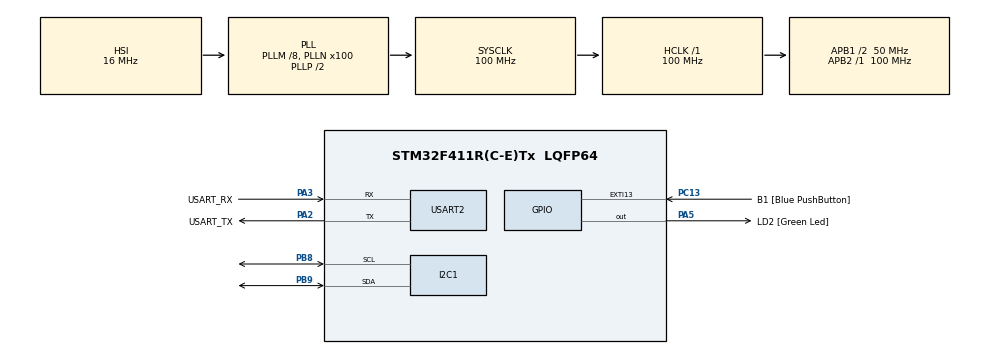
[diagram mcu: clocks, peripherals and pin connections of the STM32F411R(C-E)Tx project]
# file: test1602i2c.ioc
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Mcu.Family=STM32F4
Mcu.Name=STM32F411R(C-E)Tx
Mcu.Package=LQFP64
NVIC.PriorityGroup=NVIC_PRIORITYGROUP_0
PA13.GPIO_Label=TMS
PA13.Mode=Serial_Wire
PA13.Signal=SYS_JTMS-SWDIO
PA14.GPIO_Label=TCK
PA14.Mode=Serial_Wire
PA14.Signal=SYS_JTCK-SWCLK
PA2.GPIO_Label=USART_TX
PA2.Mode=Asynchronous
PA2.Signal=USART2_TX
PA3.GPIO_Label=USART_RX
PA3.Mode=Asynchronous
PA3.Signal=USART2_RX
PA5.GPIO_Label=LD2 [Green Led]
PA5.Signal=GPIO_Output
PB3.GPIO_Label=SWO
PB3.Signal=SYS_JTDO-SWO
PB8.Mode=I2C
PB8.Signal=I2C1_SCL
PB9.Mode=I2C
PB9.Signal=I2C1_SDA
PC13-ANTI_TAMP.GPIO_Label=B1 [Blue PushButton]
PC13-ANTI_TAMP.GPIO_ModeDefaultEXTI=GPIO_MODE_IT_FALLING
PC13-ANTI_TAMP.Signal=GPXTI13
PC14-OSC32_IN.Mode=LSE-External-Oscillator
PC14-OSC32_IN.Signal=RCC_OSC32_IN
PC15-OSC32_OUT.Mode=LSE-External-Oscillator
PC15-OSC32_OUT.Signal=RCC_OSC32_OUT
PH0\ -\ OSC_IN.Mode=HSE-External-Clock-Source
PH0\ -\ OSC_IN.Signal=RCC_OSC_IN
PH1\ -\ OSC_OUT.Mode=HSE-External-Clock-Source
PH1\ -\ OSC_OUT.Signal=RCC_OSC_OUT
ProjectManager.HeapSize=0x200
ProjectManager.StackSize=0x400
ProjectManager.TargetToolchain=STM32CubeIDE
RCC.48MHZClocksFreq_Value=50000000
RCC.AHBFreq_Value=100000000
RCC.APB1CLKDivider=RCC_HCLK_DIV2
RCC.APB1Freq_Value=50000000
RCC.APB1TimFreq_Value=100000000
RCC.APB2Freq_Value=100000000
RCC.APB2TimFreq_Value=100000000
RCC.CortexFreq_Value=100000000
RCC.FLatency-AdvancedSettings=FLASH_LATENCY_3
RCC.HCLKFreq_Value=100000000
RCC.HSE_VALUE=8000000
RCC.HSI_VALUE=16000000
RCC.PLLM=8
RCC.PLLN=100
RCC.SYSCLKFreq_VALUE=100000000
RCC.SYSCLKSource=RCC_SYSCLKSOURCE_PLLCLK
RCC.VCOOutputFreq_Value=200000000
USART2.VirtualMode=VM_ASYNC
board=NUCLEO-F411RE

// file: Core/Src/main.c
/* USER CODE BEGIN Header */
/**
  ******************************************************************************
  * @file           : main.c
  * @brief          : Main program body
  ******************************************************************************
  * @attention
  *
  * Copyright (c) 2026 STMicroelectronics.
  * All rights reserved.
  *
  * This software is licensed under terms that can be found in the LICENSE file
  * in the root directory of this software component.
  * If no LICENSE file comes with this software, it is provided AS-IS.
  *
  ******************************************************************************
  */
/* USER CODE END Header */
#include "main.h"
#include "i2c.h"
#include "usart.h"
#include "gpio.h"

void SystemClock_Config(void);

/* USER CODE BEGIN 0 */
#define LCD_ADDR (0x27 << 1)   // đổi thành 0x3F<<1 nếu module là 3F

// Mapping loại 4 (đã xác nhận bằng PulseView)
#define RS (1<<0)
#define RW (1<<1)
#define EN (1<<2)
#define BL (1<<3)

void lcd_send_cmd(uint8_t cmd)
{
    uint8_t u = cmd & 0xF0;        // high nibble
    uint8_t l = (cmd << 4) & 0xF0; // low nibble

    uint8_t data[4] = {
        (u) | BL | EN,   // EN=1, RS=0
        (u) | BL,        // EN=0
        (l) | BL | EN,
        (l) | BL
    };

    HAL_I2C_Master_Transmit(&hi2c1, LCD_ADDR, data, 4, 100);
}

void lcd_send_data(uint8_t data_in)
{
    uint8_t u = data_in & 0xF0;
    uint8_t l = (data_in << 4) & 0xF0;

    uint8_t data[4] = {
        (u) | BL | EN | RS,   // EN=1, RS=1
        (u) | BL | RS,        // EN=0
        (l) | BL | EN | RS,
        (l) | BL | RS
    };

    HAL_I2C_Master_Transmit(&hi2c1, LCD_ADDR, data, 4, 100);
}

void lcd_init(void)
{
    HAL_Delay(50);

    lcd_send_cmd(0x30);
    HAL_Delay(5);
    lcd_send_cmd(0x30);
    HAL_Delay(1);
    lcd_send_cmd(0x30);
    HAL_Delay(10);

    lcd_send_cmd(0x20); // 4-bit mode

    lcd_send_cmd(0x28); // 2 lines, 5x8 font
    lcd_send_cmd(0x0C); // display ON, cursor OFF
    lcd_send_cmd(0x01); // clear
    HAL_Delay(2);
    lcd_send_cmd(0x06); // entry mode
}

void lcd_puts(char *str)
{
    while (*str)
        lcd_send_data(*str++);
}

/* USER CODE END 0 */

int main(void)
{

  /* MCU Configuration--------------------------------------------------------*/

  /* Reset of all peripherals, Initializes the Flash interface and the Systick. */
  HAL_Init();

  /* Configure the system clock */
  SystemClock_Config();

  /* Initialize all configured peripherals */
  MX_GPIO_Init();
  MX_I2C1_Init();
  MX_USART2_UART_Init();
  /* USER CODE BEGIN 2 */
  lcd_init();
  lcd_puts("tauf Style..nhucc");
  /* USER CODE END 2 */

  /* Infinite loop */
  while (1)
  {

  }
}

void SystemClock_Config(void)
{
  RCC_OscInitTypeDef RCC_OscInitStruct = {0};
  RCC_ClkInitTypeDef RCC_ClkInitStruct = {0};

  /** Configure the main internal regulator output voltage
  */
  __HAL_RCC_PWR_CLK_ENABLE();
  __HAL_PWR_VOLTAGESCALING_CONFIG(PWR_REGULATOR_VOLTAGE_SCALE1);

  /** Initializes the RCC Oscillators according to the specified parameters
  * in the RCC_OscInitTypeDef structure.
  */
  RCC_OscInitStruct.OscillatorType = RCC_OSCILLATORTYPE_HSI;
  RCC_OscInitStruct.HSIState = RCC_HSI_ON;
  RCC_OscInitStruct.HSICalibrationValue = RCC_HSICALIBRATION_DEFAULT;
  RCC_OscInitStruct.PLL.PLLState = RCC_PLL_ON;
  RCC_OscInitStruct.PLL.PLLSource = RCC_PLLSOURCE_HSI;
  RCC_OscInitStruct.PLL.PLLM = 8;
  RCC_OscInitStruct.PLL.PLLN = 100;
  RCC_OscInitStruct.PLL.PLLP = RCC_PLLP_DIV2;
  RCC_OscInitStruct.PLL.PLLQ = 4;
  if (HAL_RCC_OscConfig(&RCC_OscInitStruct) != HAL_OK)
  {
    Error_Handler();
  }

  /** Initializes the CPU, AHB and APB buses clocks
  */
  RCC_ClkInitStruct.ClockType = RCC_CLOCKTYPE_HCLK|RCC_CLOCKTYPE_SYSCLK
                              |RCC_CLOCKTYPE_PCLK1|RCC_CLOCKTYPE_PCLK2;
  RCC_ClkInitStruct.SYSCLKSource = RCC_SYSCLKSOURCE_PLLCLK;
  RCC_ClkInitStruct.AHBCLKDivider = RCC_SYSCLK_DIV1;
  RCC_ClkInitStruct.APB1CLKDivider = RCC_HCLK_DIV2;
  RCC_ClkInitStruct.APB2CLKDivider = RCC_HCLK_DIV1;

  if (HAL_RCC_ClockConfig(&RCC_ClkInitStruct, FLASH_LATENCY_3) != HAL_OK)
  {
    Error_Handler();
  }
}

void Error_Handler(void)
{
  __disable_irq();
  while (1)
  {
  }
}
